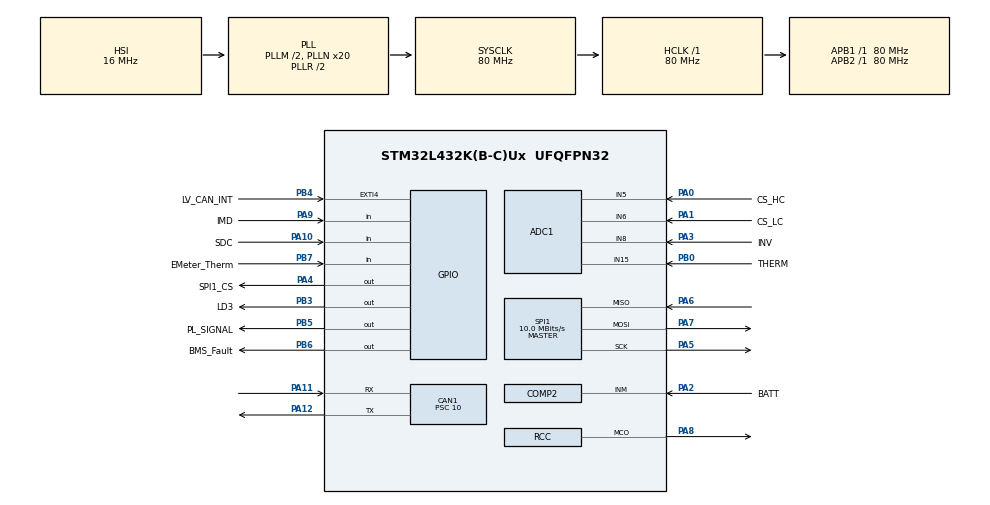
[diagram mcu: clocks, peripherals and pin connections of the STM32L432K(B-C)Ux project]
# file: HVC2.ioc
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ADC1.Channel-0\#ChannelRegularConversion=ADC_CHANNEL_5
ADC1.NbrOfConversionFlag=1
ADC1.OffsetNumber-0\#ChannelRegularConversion=ADC_OFFSET_NONE
ADC1.Rank-0\#ChannelRegularConversion=1
ADC1.SamplingTime-0\#ChannelRegularConversion=ADC_SAMPLETIME_2CYCLES_5
ADC1.master=1
CAN1.BS1=CAN_BS1_13TQ
CAN1.BS2=CAN_BS2_2TQ
CAN1.CalculateBaudRate=500000
CAN1.CalculateTimeBit=2000
CAN1.CalculateTimeQuantum=125.0
CAN1.Prescaler=10
COMP2.Hysteresis=COMP_HYSTERESIS_HIGH
COMP2.TriggerMode=COMP_TRIGGERMODE_IT_RISING_FALLING
FREERTOS.Tasks01=LED_Blink,8,128,LED_BlinkTask,Default,NULL,Static,LED_BlinkBuffer,LED_BlinkControlBlock;LV_CANManagerTa,24,128,LV_CAN_ManagerTask,As external,NULL,Static,LV_CANManagerTaskBuffer,LV_CANManagerTaskControlBlock;BMS_CAN_Manager,40,128,BMS_CAN_ManagerTask,As external,NULL,Static,BMS_CANManagerTBuffer,BMS_CANManagerTControlBlock;IO_Manager,48,128,IO_ManagerTask,As external,NULL,Static,IO_ManagerTaskBuffer,IO_ManagerTaskControlBlock;State_Manager,40,128,State_ManagerTask,As external,NULL,Static,State_ManagerBuffer,State_ManagerControlBlock;Acc_Manager,40,128,Acc_ManagerTask,As external,NULL,Static,AccManagerBuffer,AccManagerControlBlock;SPI_IntCallback,24,128,SPI_IntCallbackTask,As external,NULL,Static,SPI_IntCallbackBuffer,SPI_IntCallbackControlBlock
FREERTOS.configTOTAL_HEAP_SIZE=20000
Mcu.Family=STM32L4
Mcu.Name=STM32L432K(B-C)Ux
Mcu.Package=UFQFPN32
NVIC.CAN1_RX0_IRQn=true\:5\:0\:false\:false\:true\:true\:true\:true\:true
NVIC.CAN1_RX1_IRQn=true\:5\:0\:false\:false\:true\:true\:true\:true\:true
NVIC.CAN1_SCE_IRQn=true\:5\:0\:false\:false\:true\:true\:true\:true\:true
NVIC.CAN1_TX_IRQn=true\:5\:0\:false\:false\:true\:true\:true\:true\:true
NVIC.COMP_IRQn=true\:5\:0\:false\:false\:true\:true\:false\:true\:true
NVIC.EXTI4_IRQn=true\:5\:0\:false\:false\:true\:true\:true\:true\:true
NVIC.PriorityGroup=NVIC_PRIORITYGROUP_4
NVIC.TIM6_DAC_IRQn=true\:15\:0\:false\:false\:true\:false\:false\:true\:true
NVIC.TimeBase=TIM6_DAC_IRQn
NVIC.TimeBaseIP=TIM6
PA0.GPIO_Label=CS_HC
PA0.Signal=ADCx_IN5
PA1.GPIO_Label=CS_LC
PA1.Signal=ADCx_IN6
PA10.GPIO_Label=SDC
PA10.GPIO_PuPd=GPIO_PULLUP
PA10.Signal=GPIO_Input
PA11.Mode=CAN_Activate
PA11.Signal=CAN1_RX
PA12.Mode=CAN_Activate
PA12.Signal=CAN1_TX
PA2.GPIO_Label=BATT
PA2.Signal=SharedAnalog_PA2
PA3.GPIO_Label=INV
PA3.Signal=SharedAnalog_PA3
PA4.GPIO_Label=SPI1_CS
PA4.Signal=GPIO_Output
PA5.Mode=Full_Duplex_Master
PA5.Signal=SPI1_SCK
PA6.Mode=Full_Duplex_Master
PA6.Signal=SPI1_MISO
PA7.Mode=Full_Duplex_Master
PA7.Signal=SPI1_MOSI
PA8.Mode=Clock-out
PA8.Signal=RCC_MCO
PA9.GPIO_Label=IMD
PA9.GPIO_PuPd=GPIO_PULLUP
PA9.Signal=GPIO_Input
PB0.GPIO_Label=THERM
PB0.Signal=ADCx_IN15
PB3\ (JTDO-TRACESWO).GPIO_Label=LD3
PB3\ (JTDO-TRACESWO).Signal=GPIO_Output
PB4\ (NJTRST).GPIO_Label=LV_CAN_INT
PB4\ (NJTRST).GPIO_ModeDefaultEXTI=GPIO_MODE_IT_FALLING
PB4\ (NJTRST).GPIO_PuPd=GPIO_NOPULL
PB4\ (NJTRST).Signal=GPXTI4
PB5.GPIO_Label=PL_SIGNAL
PB5.Signal=GPIO_Output
PB6.GPIO_Label=BMS_Fault
PB6.Signal=GPIO_Output
PB7.GPIO_Label=EMeter_Therm
PB7.Signal=GPIO_Input
ProjectManager.HeapSize=0x200
ProjectManager.StackSize=0x400
ProjectManager.TargetToolchain=Makefile
RCC.ADCFreq_Value=8000000
RCC.AHBFreq_Value=80000000
RCC.APB1Freq_Value=80000000
RCC.APB1TimFreq_Value=80000000
RCC.APB2Freq_Value=80000000
RCC.APB2TimFreq_Value=80000000
RCC.CortexFreq_Value=80000000
RCC.HCLKFreq_Value=80000000
RCC.HSE_VALUE=8000000
RCC.HSI48_VALUE=48000000
RCC.HSI_VALUE=16000000
RCC.I2C1CLockSelection=RCC_I2C1CLKSOURCE_HSI
RCC.I2C3CLockSelection=RCC_I2C3CLKSOURCE_HSI
RCC.LSE_VALUE=32768
RCC.MSI_VALUE=4000000
RCC.PLLM=2
RCC.PLLN=20
RCC.PLLSAI1R=RCC_PLLR_DIV8
RCC.PLLSourceVirtual=RCC_PLLSOURCE_HSI
RCC.RCC_MCO1Source=RCC_MCO1SOURCE_HSI
RCC.SYSCLKFreq_VALUE=80000000
RCC.SYSCLKSource=RCC_SYSCLKSOURCE_PLLCLK
RCC.USBFreq_Value=32000000
RCC.VCOOutputFreq_Value=160000000
SH.ADCx_IN15.0=ADC1_IN15,IN15-Single-Ended
SH.ADCx_IN5.0=ADC1_IN5,IN5-Single-Ended
SH.ADCx_IN6.0=ADC1_IN6,IN6-Single-Ended
SH.SharedAnalog_PA2.0=COMP2_INM,INM
SH.SharedAnalog_PA2.1=ADC1_IN7,IN7-Single-Ended
SH.SharedAnalog_PA3.0=ADC1_IN8,IN8-Single-Ended
SH.SharedAnalog_PA3.1=COMP2_INP,INP
SPI1.BaudRatePrescaler=SPI_BAUDRATEPRESCALER_8
SPI1.CalculateBaudRate=10.0 MBits/s
SPI1.DataSize=SPI_DATASIZE_8BIT
SPI1.Direction=SPI_DIRECTION_2LINES
SPI1.Mode=SPI_MODE_MASTER
SPI1.VirtualType=VM_MASTER
VP_CRC_VS_CRC.Mode=CRC_Activate
VP_FREERTOS_VS_CMSIS_V2.Mode=CMSIS_V2
VP_SYS_VS_tim6.Mode=TIM6
board=custom

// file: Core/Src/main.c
/* USER CODE BEGIN Header */
/**
  ******************************************************************************
  * @file           : main.c
  * @brief          : Main program body
  ******************************************************************************
  * @attention
  *
  * Copyright (c) 2025 STMicroelectronics.
  * All rights reserved.
  *
  * This software is licensed under terms that can be found in the LICENSE file
  * in the root directory of this software component.
  * If no LICENSE file comes with this software, it is provided AS-IS.
  *
  ******************************************************************************
  */
/* USER CODE END Header */
#include "main.h"
#include "cmsis_os.h"

/* USER CODE BEGIN Includes */
#include "bms_can_manager.h"
#include "lv_can_manager.h"
#include "io_manager.h"
#include "acc_manager.h"
#include "state_manager.h"
/* USER CODE END Includes */

typedef StaticTask_t osStaticThreadDef_t;

ADC_HandleTypeDef hadc1;

CAN_HandleTypeDef hcan1;

COMP_HandleTypeDef hcomp2;

CRC_HandleTypeDef hcrc;

SPI_HandleTypeDef hspi1;

/* Definitions for LED_Blink */
osThreadId_t LED_BlinkHandle;
uint32_t LED_BlinkBuffer[ 128 ];
osStaticThreadDef_t LED_BlinkControlBlock;
const osThreadAttr_t LED_Blink_attributes = {
  .name = "LED_Blink",
  .cb_mem = &LED_BlinkControlBlock,
  .cb_size = sizeof(LED_BlinkControlBlock),
  .stack_mem = &LED_BlinkBuffer[0],
  .stack_size = sizeof(LED_BlinkBuffer),
  .priority = (osPriority_t) osPriorityLow,
};
/* Definitions for LV_CANManagerTa */
osThreadId_t LV_CANManagerTaHandle;
uint32_t LV_CANManagerTaskBuffer[ 128 ];
osStaticThreadDef_t LV_CANManagerTaskControlBlock;
const osThreadAttr_t LV_CANManagerTa_attributes = {
  .name = "LV_CANManagerTa",
  .cb_mem = &LV_CANManagerTaskControlBlock,
  .cb_size = sizeof(LV_CANManagerTaskControlBlock),
  .stack_mem = &LV_CANManagerTaskBuffer[0],
  .stack_size = sizeof(LV_CANManagerTaskBuffer),
  .priority = (osPriority_t) osPriorityHigh,
};
/* Definitions for BMS_CAN_Manager */
osThreadId_t BMS_CAN_ManagerHandle;
uint32_t BMS_CANManagerTBuffer[ 128 ];
osStaticThreadDef_t BMS_CANManagerTControlBlock;
const osThreadAttr_t BMS_CAN_Manager_attributes = {
  .name = "BMS_CAN_Manager",
  .cb_mem = &BMS_CANManagerTControlBlock,
  .cb_size = sizeof(BMS_CANManagerTControlBlock),
  .stack_mem = &BMS_CANManagerTBuffer[0],
  .stack_size = sizeof(BMS_CANManagerTBuffer),
  .priority = (osPriority_t) osPriorityHigh,
};
/* Definitions for IO_Manager */
osThreadId_t IO_ManagerHandle;
uint32_t IO_ManagerTaskBuffer[ 128 ];
osStaticThreadDef_t IO_ManagerTaskControlBlock;
const osThreadAttr_t IO_Manager_attributes = {
  .name = "IO_Manager",
  .cb_mem = &IO_ManagerTaskControlBlock,
  .cb_size = sizeof(IO_ManagerTaskControlBlock),
  .stack_mem = &IO_ManagerTaskBuffer[0],
  .stack_size = sizeof(IO_ManagerTaskBuffer),
  .priority = (osPriority_t) osPriorityRealtime,
};
/* Definitions for State_Manager */
osThreadId_t State_ManagerHandle;
uint32_t State_ManagerBuffer[ 128 ];
osStaticThreadDef_t State_ManagerControlBlock;
const osThreadAttr_t State_Manager_attributes = {
  .name = "State_Manager",
  .cb_mem = &State_ManagerControlBlock,
  .cb_size = sizeof(State_ManagerControlBlock),
  .stack_mem = &State_ManagerBuffer[0],
  .stack_size = sizeof(State_ManagerBuffer),
  .priority = (osPriority_t) osPriorityHigh,
};
/* Definitions for Acc_Manager */
osThreadId_t Acc_ManagerHandle;
uint32_t AccManagerBuffer[ 128 ];
osStaticThreadDef_t AccManagerControlBlock;
const osThreadAttr_t Acc_Manager_attributes = {
  .name = "Acc_Manager",
  .cb_mem = &AccManagerControlBlock,
  .cb_size = sizeof(AccManagerControlBlock),
  .stack_mem = &AccManagerBuffer[0],
  .stack_size = sizeof(AccManagerBuffer),
  .priority = (osPriority_t) osPriorityHigh,
};
/* Definitions for SPI_IntCallback */
osThreadId_t SPI_IntCallbackHandle;
uint32_t SPI_IntCallbackBuffer[ 128 ];
osStaticThreadDef_t SPI_IntCallbackControlBlock;
const osThreadAttr_t SPI_IntCallback_attributes = {
  .name = "SPI_IntCallback",
  .cb_mem = &SPI_IntCallbackControlBlock,
  .cb_size = sizeof(SPI_IntCallbackControlBlock),
  .stack_mem = &SPI_IntCallbackBuffer[0],
  .stack_size = sizeof(SPI_IntCallbackBuffer),
  .priority = (osPriority_t) osPriorityNormal,
};

void SystemClock_Config(void);
static void MX_GPIO_Init(void);
static void MX_CAN1_Init(void);
static void MX_CRC_Init(void);
static void MX_COMP2_Init(void);
static void MX_ADC1_Init(void);
static void MX_SPI1_Init(void);
void LED_BlinkTask(void *argument);
extern void LV_CAN_ManagerTask(void *argument);
extern void BMS_CAN_ManagerTask(void *argument);
extern void IO_ManagerTask(void *argument);
extern void State_ManagerTask(void *argument);
extern void Acc_ManagerTask(void *argument);
extern void SPI_IntCallbackTask(void *argument);

int main(void)
{

  /* USER CODE BEGIN 1 */

  // When coming from bootloader, disable all interrupts first
  __disable_irq();

  // Disable SysTick (bootloader might have enabled it)
  SysTick->CTRL = 0;
  SysTick->LOAD = 0;
  SysTick->VAL = 0;

  /* USER CODE END 1 */

  /* MCU Configuration--------------------------------------------------------*/

  /* Reset of all peripherals, Initializes the Flash interface and the Systick. */
  HAL_Init();

  /* Configure the system clock */
  SystemClock_Config();

  /* USER CODE BEGIN SysInit */

  // Vector table relocation is handled in SystemInit() using VECT_TAB_OFFSET.

  /* USER CODE END SysInit */

  /* Initialize all configured peripherals */
  MX_GPIO_Init();
  MX_CAN1_Init();
  MX_CRC_Init();
  MX_COMP2_Init();
  MX_ADC1_Init();
  MX_SPI1_Init();
  /* USER CODE BEGIN 2 */
    // Start CAN peripheral
  /* USER CODE END 2 */

  /* Init scheduler */
  osKernelInitialize();

  /* USER CODE BEGIN RTOS_QUEUES */

  if (BMS_CAN_Manager_Init() != HAL_OK) {
    Error_Handler();
  }

  if (LV_CAN_Manager_Init() != HAL_OK) {
    Error_Handler();
  }

  if (Acc_Manager_Init() != HAL_OK) {
    Error_Handler();
  }

  if (IO_Manager_Init() != HAL_OK) {
    Error_Handler();
  }

  if (State_Manager_Init() != HAL_OK) {
    Error_Handler();
  }

  /* USER CODE END RTOS_QUEUES */

  /* Create the thread(s) */
  /* creation of LED_Blink */
  LED_BlinkHandle = osThreadNew(LED_BlinkTask, NULL, &LED_Blink_attributes);

  /* creation of LV_CANManagerTa */
  LV_CANManagerTaHandle = osThreadNew(LV_CAN_ManagerTask, NULL, &LV_CANManagerTa_attributes);

  /* creation of BMS_CAN_Manager */
  BMS_CAN_ManagerHandle = osThreadNew(BMS_CAN_ManagerTask, NULL, &BMS_CAN_Manager_attributes);

  /* creation of IO_Manager */
  IO_ManagerHandle = osThreadNew(IO_ManagerTask, NULL, &IO_Manager_attributes);

  /* creation of State_Manager */
  State_ManagerHandle = osThreadNew(State_ManagerTask, NULL, &State_Manager_attributes);

  /* creation of Acc_Manager */
  Acc_ManagerHandle = osThreadNew(Acc_ManagerTask, NULL, &Acc_Manager_attributes);

  /* creation of SPI_IntCallback */
  SPI_IntCallbackHandle = osThreadNew(SPI_IntCallbackTask, NULL, &SPI_IntCallback_attributes);

  /* Start scheduler */
  osKernelStart();

  /* We should never get here as control is now taken by the scheduler */

  /* Infinite loop */
  while (1)
  {

  }
}

void SystemClock_Config(void)
{
  RCC_OscInitTypeDef RCC_OscInitStruct = {0};
  RCC_ClkInitTypeDef RCC_ClkInitStruct = {0};

  /** Configure the main internal regulator output voltage
  */
  if (HAL_PWREx_ControlVoltageScaling(PWR_REGULATOR_VOLTAGE_SCALE1) != HAL_OK)
  {
    Error_Handler();
  }

  /** Initializes the RCC Oscillators according to the specified parameters
  * in the RCC_OscInitTypeDef structure.
  */
  RCC_OscInitStruct.OscillatorType = RCC_OSCILLATORTYPE_HSI;
  RCC_OscInitStruct.HSIState = RCC_HSI_ON;
  RCC_OscInitStruct.HSICalibrationValue = RCC_HSICALIBRATION_DEFAULT;
  RCC_OscInitStruct.PLL.PLLState = RCC_PLL_ON;
  RCC_OscInitStruct.PLL.PLLSource = RCC_PLLSOURCE_HSI;
  RCC_OscInitStruct.PLL.PLLM = 2;
  RCC_OscInitStruct.PLL.PLLN = 20;
  RCC_OscInitStruct.PLL.PLLP = RCC_PLLP_DIV7;
  RCC_OscInitStruct.PLL.PLLQ = RCC_PLLQ_DIV2;
  RCC_OscInitStruct.PLL.PLLR = RCC_PLLR_DIV2;
  if (HAL_RCC_OscConfig(&RCC_OscInitStruct) != HAL_OK)
  {
    Error_Handler();
  }

  /** Initializes the CPU, AHB and APB buses clocks
  */
  RCC_ClkInitStruct.ClockType = RCC_CLOCKTYPE_HCLK|RCC_CLOCKTYPE_SYSCLK
                              |RCC_CLOCKTYPE_PCLK1|RCC_CLOCKTYPE_PCLK2;
  RCC_ClkInitStruct.SYSCLKSource = RCC_SYSCLKSOURCE_PLLCLK;
  RCC_ClkInitStruct.AHBCLKDivider = RCC_SYSCLK_DIV1;
  RCC_ClkInitStruct.APB1CLKDivider = RCC_HCLK_DIV1;
  RCC_ClkInitStruct.APB2CLKDivider = RCC_HCLK_DIV1;

  if (HAL_RCC_ClockConfig(&RCC_ClkInitStruct, FLASH_LATENCY_4) != HAL_OK)
  {
    Error_Handler();
  }
  HAL_RCC_MCOConfig(RCC_MCO1, RCC_MCO1SOURCE_HSI, RCC_MCODIV_1);
}

static void MX_ADC1_Init(void)
{

  ADC_ChannelConfTypeDef sConfig = {0};

  /** Common config
  */
  hadc1.Instance = ADC1;
  hadc1.Init.ClockPrescaler = ADC_CLOCK_ASYNC_DIV1;
  hadc1.Init.Resolution = ADC_RESOLUTION_12B;
  hadc1.Init.DataAlign = ADC_DATAALIGN_RIGHT;
  hadc1.Init.ScanConvMode = ADC_SCAN_DISABLE;
  hadc1.Init.EOCSelection = ADC_EOC_SINGLE_CONV;
  hadc1.Init.LowPowerAutoWait = DISABLE;
  hadc1.Init.ContinuousConvMode = DISABLE;
  hadc1.Init.NbrOfConversion = 1;
  hadc1.Init.DiscontinuousConvMode = DISABLE;
  hadc1.Init.ExternalTrigConv = ADC_SOFTWARE_START;
  hadc1.Init.ExternalTrigConvEdge = ADC_EXTERNALTRIGCONVEDGE_NONE;
  hadc1.Init.DMAContinuousRequests = DISABLE;
  hadc1.Init.Overrun = ADC_OVR_DATA_PRESERVED;
  hadc1.Init.OversamplingMode = DISABLE;
  if (HAL_ADC_Init(&hadc1) != HAL_OK)
  {
    Error_Handler();
  }

  /** Configure Regular Channel
  */
  sConfig.Channel = ADC_CHANNEL_5;
  sConfig.Rank = ADC_REGULAR_RANK_1;
  sConfig.SamplingTime = ADC_SAMPLETIME_2CYCLES_5;
  sConfig.SingleDiff = ADC_SINGLE_ENDED;
  sConfig.OffsetNumber = ADC_OFFSET_NONE;
  sConfig.Offset = 0;
  if (HAL_ADC_ConfigChannel(&hadc1, &sConfig) != HAL_OK)
  {
    Error_Handler();
  }

}

static void MX_CAN1_Init(void)
{

  hcan1.Instance = CAN1;
  hcan1.Init.Prescaler = 10;
  hcan1.Init.Mode = CAN_MODE_NORMAL;
  hcan1.Init.SyncJumpWidth = CAN_SJW_1TQ;
  hcan1.Init.TimeSeg1 = CAN_BS1_13TQ;
  hcan1.Init.TimeSeg2 = CAN_BS2_2TQ;
  hcan1.Init.TimeTriggeredMode = DISABLE;
  hcan1.Init.AutoBusOff = DISABLE;
  hcan1.Init.AutoWakeUp = DISABLE;
  hcan1.Init.AutoRetransmission = DISABLE;
  hcan1.Init.ReceiveFifoLocked = DISABLE;
  hcan1.Init.TransmitFifoPriority = DISABLE;
  if (HAL_CAN_Init(&hcan1) != HAL_OK)
  {
    Error_Handler();
  }
  /* USER CODE BEGIN CAN1_Init 2 */
    // Configure CAN filter BEFORE starting CAN
  // Accept all extended CAN IDs (for debugging)
  CAN_FilterTypeDef filterConfig;
  filterConfig.FilterBank = 0;
  filterConfig.FilterMode = CAN_FILTERMODE_IDMASK;
  filterConfig.FilterScale = CAN_FILTERSCALE_32BIT;

  // Accept all extended IDs: ID=0, Mask=0 means "don't care about any bits"
  filterConfig.FilterIdHigh = 0x0000;
  filterConfig.FilterIdLow = 0x0004;   // Only IDE bit set (extended ID)
  filterConfig.FilterMaskIdHigh = 0x0000;  // Don't care about any ID bits
  filterConfig.FilterMaskIdLow = 0x0004;   // But we DO care about IDE bit (only extended)

  filterConfig.FilterFIFOAssignment = CAN_RX_FIFO0;
  filterConfig.FilterActivation = ENABLE;
  filterConfig.SlaveStartFilterBank = 14;

  if (HAL_CAN_ConfigFilter(&hcan1, &filterConfig) != HAL_OK)
  {
    Error_Handler();
  }

  // Enable robust CAN fault handling (preserved across CubeMX regeneration)
  // ABOM: automatic recovery from Bus-Off per CAN specification
  // NART: clear to enable automatic retransmission for transient failures
  SET_BIT(hcan1.Instance->MCR, CAN_MCR_ABOM);
  CLEAR_BIT(hcan1.Instance->MCR, CAN_MCR_NART);
  /* USER CODE END CAN1_Init 2 */

}

static void MX_COMP2_Init(void)
{

  hcomp2.Instance = COMP2;
  hcomp2.Init.InvertingInput = COMP_INPUT_MINUS_IO3;
  hcomp2.Init.NonInvertingInput = COMP_INPUT_PLUS_IO3;
  hcomp2.Init.OutputPol = COMP_OUTPUTPOL_NONINVERTED;
  hcomp2.Init.Hysteresis = COMP_HYSTERESIS_HIGH;
  hcomp2.Init.BlankingSrce = COMP_BLANKINGSRC_NONE;
  hcomp2.Init.Mode = COMP_POWERMODE_HIGHSPEED;
  hcomp2.Init.WindowMode = COMP_WINDOWMODE_DISABLE;
  hcomp2.Init.TriggerMode = COMP_TRIGGERMODE_IT_RISING_FALLING;
  if (HAL_COMP_Init(&hcomp2) != HAL_OK)
  {
    Error_Handler();
  }

}

static void MX_CRC_Init(void)
{

  hcrc.Instance = CRC;
  hcrc.Init.DefaultPolynomialUse = DEFAULT_POLYNOMIAL_ENABLE;
  hcrc.Init.DefaultInitValueUse = DEFAULT_INIT_VALUE_ENABLE;
  hcrc.Init.InputDataInversionMode = CRC_INPUTDATA_INVERSION_NONE;
  hcrc.Init.OutputDataInversionMode = CRC_OUTPUTDATA_INVERSION_DISABLE;
  hcrc.InputDataFormat = CRC_INPUTDATA_FORMAT_BYTES;
  if (HAL_CRC_Init(&hcrc) != HAL_OK)
  {
    Error_Handler();
  }

}

static void MX_SPI1_Init(void)
{

  /* SPI1 parameter configuration*/
  hspi1.Instance = SPI1;
  hspi1.Init.Mode = SPI_MODE_MASTER;
  hspi1.Init.Direction = SPI_DIRECTION_2LINES;
  hspi1.Init.DataSize = SPI_DATASIZE_8BIT;
  hspi1.Init.CLKPolarity = SPI_POLARITY_LOW;
  hspi1.Init.CLKPhase = SPI_PHASE_1EDGE;
  hspi1.Init.NSS = SPI_NSS_SOFT;
  hspi1.Init.BaudRatePrescaler = SPI_BAUDRATEPRESCALER_8;
  hspi1.Init.FirstBit = SPI_FIRSTBIT_MSB;
  hspi1.Init.TIMode = SPI_TIMODE_DISABLE;
  hspi1.Init.CRCCalculation = SPI_CRCCALCULATION_DISABLE;
  hspi1.Init.CRCPolynomial = 7;
  hspi1.Init.CRCLength = SPI_CRC_LENGTH_DATASIZE;
  hspi1.Init.NSSPMode = SPI_NSS_PULSE_ENABLE;
  if (HAL_SPI_Init(&hspi1) != HAL_OK)
  {
    Error_Handler();
  }

}

static void MX_GPIO_Init(void)
{
  GPIO_InitTypeDef GPIO_InitStruct = {0};

  /* GPIO Ports Clock Enable */
  __HAL_RCC_GPIOA_CLK_ENABLE();
  __HAL_RCC_GPIOB_CLK_ENABLE();

  /*Configure GPIO pin Output Level */
  HAL_GPIO_WritePin(SPI1_CS_GPIO_Port, SPI1_CS_Pin, GPIO_PIN_RESET);

  /*Configure GPIO pin Output Level */
  HAL_GPIO_WritePin(GPIOB, LD3_Pin|PL_SIGNAL_Pin|BMS_Fault_Pin, GPIO_PIN_RESET);

  /*Configure GPIO pin : SPI1_CS_Pin */
  GPIO_InitStruct.Pin = SPI1_CS_Pin;
  GPIO_InitStruct.Mode = GPIO_MODE_OUTPUT_PP;
  GPIO_InitStruct.Pull = GPIO_NOPULL;
  GPIO_InitStruct.Speed = GPIO_SPEED_FREQ_LOW;
  HAL_GPIO_Init(SPI1_CS_GPIO_Port, &GPIO_InitStruct);

  /*Configure GPIO pin : PA8 */
  GPIO_InitStruct.Pin = GPIO_PIN_8;
  GPIO_InitStruct.Mode = GPIO_MODE_AF_PP;
  GPIO_InitStruct.Pull = GPIO_NOPULL;
  GPIO_InitStruct.Speed = GPIO_SPEED_FREQ_LOW;
  GPIO_InitStruct.Alternate = GPIO_AF0_MCO;
  HAL_GPIO_Init(GPIOA, &GPIO_InitStruct);

  /*Configure GPIO pins : IMD_Pin SDC_Pin */
  GPIO_InitStruct.Pin = IMD_Pin|SDC_Pin;
  GPIO_InitStruct.Mode = GPIO_MODE_INPUT;
  GPIO_InitStruct.Pull = GPIO_PULLUP;
  HAL_GPIO_Init(GPIOA, &GPIO_InitStruct);

  /*Configure GPIO pins : LD3_Pin PL_SIGNAL_Pin BMS_Fault_Pin */
  GPIO_InitStruct.Pin = LD3_Pin|PL_SIGNAL_Pin|BMS_Fault_Pin;
  GPIO_InitStruct.Mode = GPIO_MODE_OUTPUT_PP;
  GPIO_InitStruct.Pull = GPIO_NOPULL;
  GPIO_InitStruct.Speed = GPIO_SPEED_FREQ_LOW;
  HAL_GPIO_Init(GPIOB, &GPIO_InitStruct);

  /*Configure GPIO pin : LV_CAN_INT_Pin */
  GPIO_InitStruct.Pin = LV_CAN_INT_Pin;
  GPIO_InitStruct.Mode = GPIO_MODE_IT_FALLING;
  GPIO_InitStruct.Pull = GPIO_NOPULL;
  HAL_GPIO_Init(LV_CAN_INT_GPIO_Port, &GPIO_InitStruct);

  /*Configure GPIO pin : EMeter_Therm_Pin */
  GPIO_InitStruct.Pin = EMeter_Therm_Pin;
  GPIO_InitStruct.Mode = GPIO_MODE_INPUT;
  GPIO_InitStruct.Pull = GPIO_NOPULL;
  HAL_GPIO_Init(EMeter_Therm_GPIO_Port, &GPIO_InitStruct);

  /* EXTI interrupt init*/
  HAL_NVIC_SetPriority(EXTI4_IRQn, 5, 0);
  HAL_NVIC_EnableIRQ(EXTI4_IRQn);

}

/* USER CODE BEGIN Header_LED_BlinkTask */
/**
  * @brief  Task for blinking LED
  * @param  argument: Not used
  * @retval None
  */
/* USER CODE END Header_LED_BlinkTask */
void LED_BlinkTask(void *argument)
{
  /* USER CODE BEGIN 5 */
  for(;;)
  {
    HAL_GPIO_TogglePin(LD3_GPIO_Port, LD3_Pin);
    osDelay(500);
    HAL_GPIO_TogglePin(LD3_GPIO_Port, LD3_Pin);
    osDelay(500);
  }
  /* USER CODE END 5 */
}

void HAL_TIM_PeriodElapsedCallback(TIM_HandleTypeDef *htim)
{
  if (htim->Instance == TIM6)
  {
    HAL_IncTick();
  }
}

void Error_Handler(void)
{
  /* USER CODE BEGIN Error_Handler_Debug */
  /* User can add his own implementation to report the HAL error return state */
  __disable_irq();

  // Set output to faulted
  HAL_GPIO_WritePin(BMS_Fault_GPIO_Port, BMS_Fault_Pin, GPIO_PIN_RESET);

  CAN_TxHeaderTypeDef TxHeader;
  uint32_t TxMailbox;
  uint8_t data[8];

  // Configure TX header for extended ID
  TxHeader.ExtId = CAN_ID_ERRORED_PANIC;
  TxHeader.StdId = 0;
  TxHeader.RTR = CAN_RTR_DATA;
  TxHeader.IDE = CAN_ID_EXT;
  TxHeader.DLC = 4;
  TxHeader.TransmitGlobalTime = DISABLE;

  data[0] = bms_can_initialized;
  data[1] = lv_can_initialized;
  data[2] = acc_initialized;
  data[3] = io_initialized;

  uCAN_MSG spi_message = {0};

  spi_message.frame.idType = dEXTENDED_CAN_MSG_ID_2_0B;
  spi_message.frame.id = CAN_ID_ERRORED_PANIC;
  spi_message.frame.dlc = 4;

  spi_message.frame.data0 = bms_can_initialized;
  spi_message.frame.data1 = lv_can_initialized;
  spi_message.frame.data2 = acc_initialized;
  spi_message.frame.data3 = io_initialized;

  while (1)
  {
    // Send message on all CAN buses
    // TODO: Send state

    if (bms_can_initialized) {
      HAL_CAN_AddTxMessage(&hcan1, &TxHeader, data, &TxMailbox);
    }

    if (lv_can_initialized) {
      CANSPI_Transmit(&spi_message);
    }

    // TODO: delay that doesn't use HAL_DELAY?
    for (int i = 0; i < 10000; i++) {};
  }
  /* USER CODE END Error_Handler_Debug */
}
